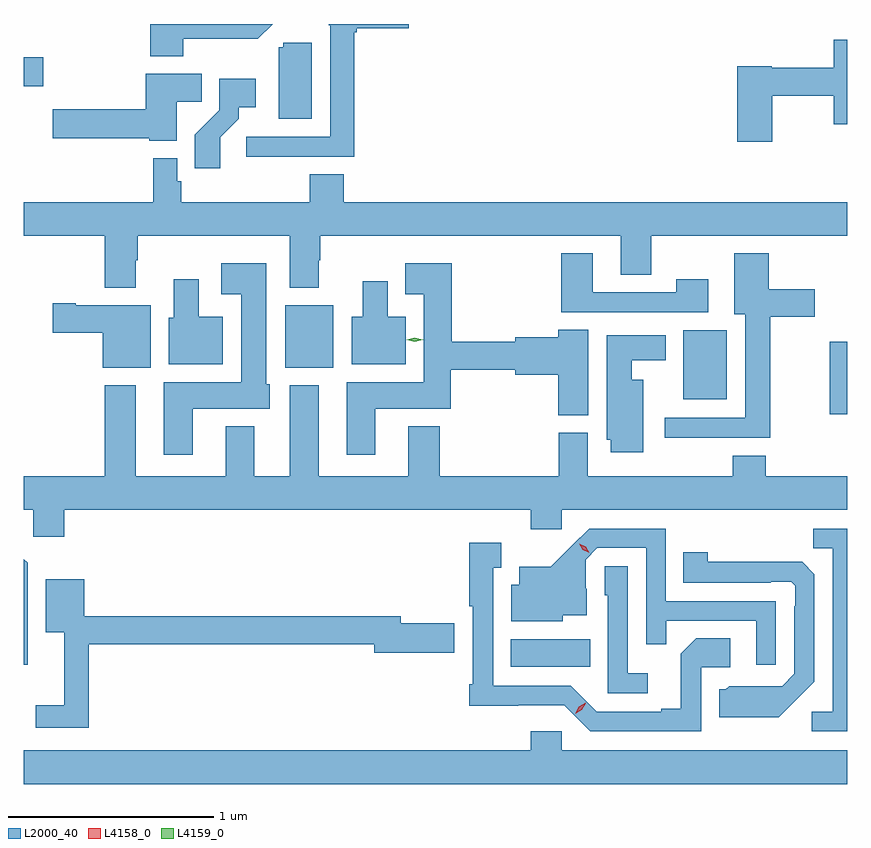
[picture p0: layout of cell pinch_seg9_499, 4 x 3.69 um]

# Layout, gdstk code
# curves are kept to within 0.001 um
import gdstk
lib = gdstk.Library(unit=1e-6, precision=1e-09)
def R(c, l, rs):  # rectangles x0, y0, x1, y1
    for r in rs: c.add(gdstk.rectangle(r[:2], r[2:], *l))
def P(c, l, *ps):  # polygons
    for p in ps: c.add(gdstk.Polygon(p, *l))
L2000_40 = (2000, 40)
L4158_0 = (4158, 0)
L4159_0 = (4159, 0)

pinch_seg9_499 = lib.new_cell('pinch_seg9_499')
R(pinch_seg9_499, L2000_40, [(268.793,1185.002,269.18,1185.136), (270.343,1186.229,270.427,1186.582), (269.63,1186.301,269.842,1186.636), (267.698,1186.454,267.931,1186.759), (266.427,1187.822,266.521,1187.964)])
P(pinch_seg9_499, L2000_40, [(267.201,1188.054),(267.464,1188.054),(267.464,1188.053),(267.563,1188.053),(267.635,1188.125),(267.041,1188.125),(267.041,1187.969),(267.201,1187.969)],
  [(267.731,1187.481),(268.031,1187.481),(268.031,1188.086),(268.044,1188.086),(268.044,1188.104),(268.297,1188.104),(268.297,1188.125),(267.908,1188.125),(267.908,1188.12),(267.915,1188.12),(267.915,1187.577),(267.507,1187.577),(267.507,1187.479),(267.731,1187.479)],
  [(270.064,1187.776),(270.362,1187.776),(270.362,1187.639),(270.427,1187.639),(270.427,1188.049),(270.362,1188.049),(270.362,1187.912),(270.06,1187.912),(270.06,1187.92),(269.894,1187.92),(269.894,1187.553),(270.064,1187.553)],
  [(267.826,1188.033),(267.687,1188.033),(267.687,1188.012),(267.665,1188.012),(267.665,1187.664),(267.826,1187.664)],
  [(267.169,1187.746),(267.29,1187.746),(267.29,1187.884),(267.02,1187.884),(267.02,1187.711),(266.568,1187.711),(266.568,1187.569),(267.036,1187.569),(267.036,1187.558),(267.169,1187.558)],
  [(267.382,1187.575),(267.472,1187.665),(267.472,1187.72),(267.553,1187.72),(267.553,1187.86),(267.375,1187.86),(267.375,1187.705),(267.256,1187.586),(267.256,1187.424),(267.382,1187.424)],
  [(266.971,1186.976),(266.979,1186.976),(266.979,1187.096),(267.719,1187.096),(267.719,1186.844),(267.859,1186.844),(267.859,1186.976),(267.867,1186.976),(267.867,1187.096),(269.327,1187.096),(269.327,1186.906),(269.475,1186.906),(269.475,1187.096),(270.427,1187.096),(270.427,1187.26),(267.98,1187.26),(267.98,1187.396),(267.815,1187.396),(267.815,1187.26),(267.191,1187.26),(267.191,1187.361),(267.171,1187.361),(267.171,1187.473),(267.055,1187.473),(267.055,1187.26),(266.427,1187.26),(266.427,1187.096),(266.819,1187.096),(266.819,1186.844),(266.971,1186.844)],
  [(269.752,1186.885),(269.596,1186.885),(269.596,1186.821),(269.191,1186.821),(269.191,1187.011),(269.039,1187.011),(269.039,1186.725),(269.752,1186.725)],
  [(270.054,1186.703),(270.271,1186.703),(270.271,1186.837),(270.046,1186.837),(270.046,1187.011),(269.879,1187.011),(269.879,1186.715),(269.933,1186.715),(269.933,1186.212),(269.541,1186.212),(269.541,1186.115),(270.054,1186.115)],
  [(268.135,1186.256),(268.5,1186.256),(268.5,1186.444),(268.814,1186.444),(268.814,1186.421),(269.024,1186.421),(269.024,1186.225),(269.17,1186.225),(269.17,1186.64),(269.024,1186.64),(269.024,1186.604),(268.814,1186.604),(268.814,1186.58),(268.505,1186.58),(268.505,1186.963),(268.28,1186.963),(268.28,1186.811),(268.37,1186.811),(268.37,1186.384),(267.995,1186.384),(267.995,1186.032),(268.135,1186.032)],
  [(267.247,1186.256),(267.622,1186.256),(267.622,1186.374),(267.604,1186.374),(267.604,1186.963),(267.387,1186.963),(267.387,1186.811),(267.482,1186.811),(267.482,1186.384),(267.107,1186.384),(267.107,1186.032),(267.247,1186.032)],
  [(267.394,1186.702),(267.277,1186.702),(267.277,1186.885),(267.155,1186.885),(267.155,1186.698),(267.131,1186.698),(267.131,1186.472),(267.394,1186.472)],
  [(268.282,1186.702),(268.195,1186.702),(268.195,1186.876),(268.073,1186.876),(268.073,1186.702),(268.019,1186.702),(268.019,1186.472),(268.282,1186.472)],
  [(267.043,1186.759),(266.68,1186.759),(266.68,1186.767),(266.568,1186.767),(266.568,1186.625),(266.81,1186.625),(266.81,1186.454),(267.043,1186.454)],
  [(269.437,1186.396),(269.38,1186.396),(269.38,1186.49),(269.545,1186.49),(269.545,1186.612),(269.258,1186.612),(269.258,1186.104),(269.279,1186.104),(269.279,1186.044),(269.437,1186.044)],
  [(270.427,1185.928),(270.032,1185.928),(270.032,1186.027),(269.872,1186.027),(269.872,1185.928),(269.167,1185.928),(269.167,1186.14),(269.027,1186.14),(269.027,1185.928),(268.448,1185.928),(268.448,1186.171),(268.295,1186.171),(268.295,1185.928),(267.859,1185.928),(267.859,1186.369),(267.719,1186.369),(267.719,1185.928),(267.547,1185.928),(267.547,1186.171),(267.407,1186.171),(267.407,1185.928),(266.971,1185.928),(266.971,1186.369),(266.819,1186.369),(266.819,1185.928),(266.427,1185.928),(266.427,1185.764),(266.472,1185.764),(266.472,1185.633),(266.624,1185.633),(266.624,1185.764),(268.889,1185.764),(268.889,1185.669),(269.04,1185.669),(269.04,1185.764),(270.427,1185.764)],
  [(270.081,1185.321),(269.547,1185.321),(269.547,1185.672),(269.174,1185.672),(268.987,1185.487),(268.835,1185.487),(268.835,1185.4),(268.796,1185.4),(268.796,1185.224),(269.046,1185.224),(269.046,1185.251),(269.161,1185.251),(269.161,1185.38),(269.157,1185.38),(269.157,1185.522),(269.214,1185.579),(269.451,1185.579),(269.451,1185.112),(269.549,1185.112),(269.549,1185.225),(269.985,1185.225),(269.985,1185.012),(270.081,1185.012)],
  [(270.427,1185.672),(270.262,1185.672),(270.262,1185.577),(270.357,1185.577),(270.357,1184.784),(270.255,1184.784),(270.255,1184.688),(270.427,1184.688)],
  [(269.718,1185),(269.86,1185),(269.86,1185.14),(269.695,1185.14),(269.619,1185.064),(269.619,1184.797),(269.525,1184.797),(269.525,1184.784),(269.211,1184.784),(269.085,1184.91),(268.708,1184.91),(268.708,1185.483),(268.747,1185.483),(268.747,1185.604),(268.59,1185.604),(268.59,1185.295),(268.607,1185.295),(268.607,1184.917),(268.59,1184.917),(268.59,1184.813),(269.052,1184.814),(269.178,1184.688),(269.718,1184.688)],
  [(270.175,1184.837),(270.267,1184.93),(270.267,1185.452),(270.208,1185.511),(269.751,1185.512),(269.751,1185.559),(269.632,1185.559),(269.632,1185.411),(270.056,1185.411),(270.056,1185.414),(270.156,1185.414),(270.174,1185.396),(270.174,1185.296),(270.171,1185.296),(270.171,1184.967),(270.111,1184.907),(269.854,1184.908),(269.838,1184.892),(269.807,1184.892),(269.807,1184.756),(270.095,1184.756)],
  [(266.445,1185.507),(266.427,1185.525),(266.427,1185.012),(266.445,1185.012)],
  [(269.458,1184.971),(269.361,1184.971),(269.361,1185.491),(269.25,1185.491),(269.25,1185.348),(269.265,1185.348),(269.265,1184.874),(269.458,1184.874)],
  [(266.741,1185.112),(268.13,1185.112),(268.13,1185.07),(268.519,1185.07),(268.519,1185.212),(268.258,1185.212),(268.258,1185.248),(266.721,1185.248),(266.721,1185.427),(266.534,1185.427),(266.534,1185.17),(266.624,1185.17),(266.624,1184.815),(266.484,1184.815),(266.484,1184.706),(266.741,1184.706)],
  [(270.427,1184.596),(269.04,1184.596),(269.04,1184.689),(268.889,1184.689),(268.889,1184.596),(266.427,1184.596),(266.427,1184.432),(270.427,1184.432)])
P(pinch_seg9_499, L4158_0, [(269.174,1185.556),(269.143,1185.57),(269.125,1185.6),(269.125,1185.6),(269.125,1185.6),(269.156,1185.585),(269.174,1185.556),(269.174,1185.556)],
  [(269.107,1184.774),(269.107,1184.774),(269.124,1184.807),(269.156,1184.826),(269.156,1184.826),(269.156,1184.825),(269.138,1184.793),(269.107,1184.774)])
P(pinch_seg9_499, L4159_0, [(268.327,1186.58),(268.287,1186.59),(268.287,1186.59),(268.287,1186.59),(268.327,1186.6),(268.366,1186.591),(268.367,1186.591),(268.366,1186.59)])

lib.write_gds('pinch_seg9_499.gds')
